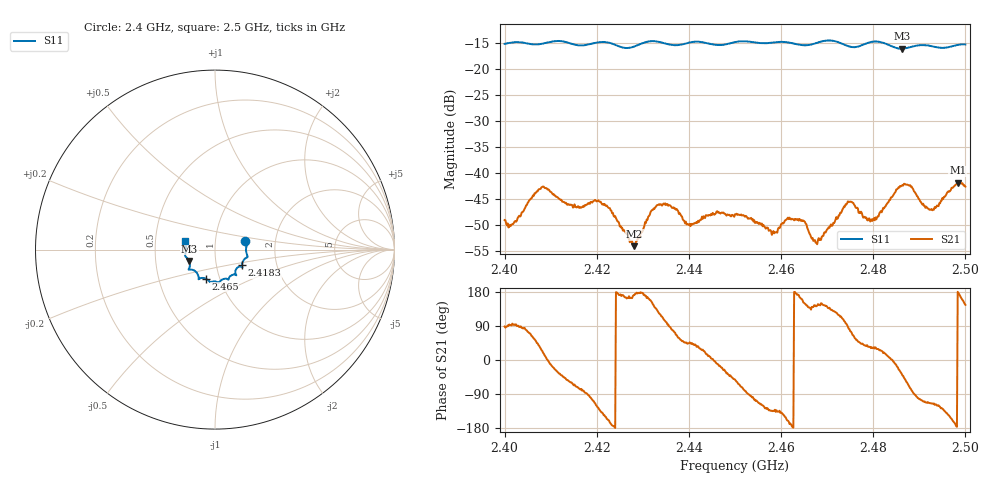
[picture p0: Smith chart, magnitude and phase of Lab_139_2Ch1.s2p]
# Hz S RI R 50
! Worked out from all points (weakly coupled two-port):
!   601 points, 2.4 GHz to 2.5 GHz, reference 50 ohm
!   highest |S21| = -41.91 dB at 2.4983 GHz (marker M1); lowest = -54.1 dB at 2.4282 GHz (marker M2)
!   lowest |S11| = -16.1 dB at 2.4862 GHz (marker M3), VSWR 1.37, Z = 37.2 - j4.8 ohm
!   |S11| at or under -10 dB: start of sweep to end of sweep
!   S12 and S22 are empty: the file has one direction only
!   S11 on the Smith chart (normalised r, x): 2.4 GHz: 1.40, +0.14; 2.4183 GHz: 1.33, -0.24; 2.465 GHz: 0.86, -0.29; 2.5 GHz: 0.71, +0.07
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2.4e9  0.1687 0.0469  9.79e-05 0.00351  0 0  0 0
2.402167e9  0.1779 0.0367  -0.000228 0.00339  0 0  0 0
2.408167e9  0.175 -0.0174  0.00669 0.00296  0 0  0 0
2.416667e9  0.1546 -0.0683  0.00109 -0.0045  0 0  0 0
2.418333e9  0.1501 -0.0871  -0.000322 -0.00503  0 0  0 0
2.422333e9  0.152 -0.0984  -0.00432 -0.00188  0 0  0 0
2.428167e9  0.1135 -0.1202  -0.00194 0.000296  0 0  0 0
2.433333e9  0.1176 -0.1411  -0.00293 0.00394  0 0  0 0
2.44e9  0.076 -0.163  0.00224 0.00219  0 0  0 0
2.45e9  0.0262 -0.1803  0.00246 -0.00313  0 0  0 0
2.4585e9  -0.0204 -0.1798  -0.00179 -0.0019  0 0  0 0
2.461333e9  -0.0299 -0.1788  -0.00339 -0.00127  0 0  0 0
2.465e9  -0.0523 -0.1615  -0.00298 0.00168  0 0  0 0
2.466667e9  -0.0712 -0.1577  -0.00178 0.00149  0 0  0 0
2.468167e9  -0.0846 -0.1607  -0.00194 0.00132  0 0  0 0
2.474833e9  -0.0996 -0.1318  0.000788 0.00518  0 0  0 0
2.479833e9  -0.1461 -0.1113  0.00294 0.0018  0 0  0 0
2.483333e9  -0.1412 -0.0968  0.00518 0.000742  0 0  0 0
2.486167e9  -0.144 -0.063  0.00606 -0.00444  0 0  0 0
2.492667e9  -0.1648 -0.0232  -0.00188 -0.00407  0 0  0 0
2.498333e9  -0.1669 0.0376  -0.00803 3.69e-06  0 0  0 0
2.5e9  -0.1667 0.0469  -0.00608 0.00416  0 0  0 0
